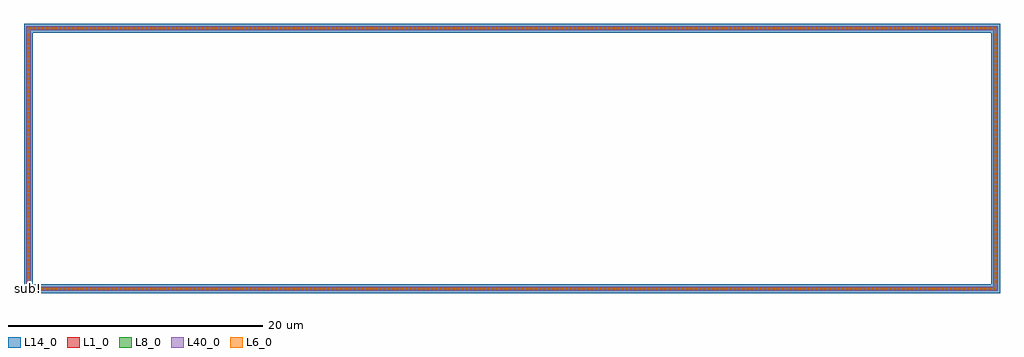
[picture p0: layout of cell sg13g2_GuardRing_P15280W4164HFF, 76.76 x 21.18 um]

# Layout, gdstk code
import gdstk
lib = gdstk.Library(unit=1e-6, precision=1e-09)
def R(c, l, rs):  # rectangles x0, y0, x1, y1
    for r in rs: c.add(gdstk.rectangle(r[:2], r[2:], *l))
def A(c, l, x, y, w, h, nx, ny, dx, dy):  # array of equal rectangles
    R(c, l, [(x+i*dx, y+j*dy, x+i*dx+w, y+j*dy+h) for i in range(nx) for j in range(ny)])
def P(c, l, *ps):  # polygons
    for p in ps: c.add(gdstk.Polygon(p, *l))
L1_0 = (1, 0)
L6_0 = (6, 0)
L8_0 = (8, 0)
L14_0 = (14, 0)
L40_0 = (40, 0)

sg13g2_guardring_p15280w = lib.new_cell('sg13g2_GuardRing_P15280W4164HFF')
P(sg13g2_guardring_p15280w, L1_0, [(-38.2,-10.41),(-38.2,10.07),(-37.86,10.07),(-37.86,-10.07),(37.86,-10.07),(37.86,10.07),(-38.2,10.07),(-38.2,10.41),(38.2,10.41),(38.2,-10.41)])
A(sg13g2_guardring_p15280w, L6_0, -37.99, -10.32, 0.16, 0.16, 224, 2, 0.34, 20.48)
A(sg13g2_guardring_p15280w, L6_0, -38.11, -9.77, 0.16, 0.16, 1, 58, 0, 0.34)
A(sg13g2_guardring_p15280w, L6_0, 37.95, -9.77, 0.16, 0.16, 1, 58, 0, 0.34)
P(sg13g2_guardring_p15280w, L8_0, [(-38.2,-10.41),(-38.2,10.07),(-37.86,10.07),(-37.86,-10.07),(37.86,-10.07),(37.86,10.07),(-38.2,10.07),(-38.2,10.41),(38.2,10.41),(38.2,-10.41)])
P(sg13g2_guardring_p15280w, L14_0, [(-38.38,-10.59),(-38.38,9.89),(-37.68,9.89),(-37.68,-9.89),(37.68,-9.89),(37.68,9.89),(-38.38,9.89),(-38.38,10.59),(38.38,10.59),(38.38,-10.59)])
P(sg13g2_guardring_p15280w, L40_0, [(-38.2,-10.41),(-38.2,10.07),(-37.86,10.07),(-37.86,-10.07),(37.86,-10.07),(37.86,10.07),(-38.2,10.07),(-38.2,10.41),(38.2,10.41),(38.2,-10.41)])
sg13g2_guardring_p15280w.add(gdstk.Label('sub!', (-38.03,-10.24), layer=63, texttype=0))

lib.write_gds('sg13g2_GuardRing_P15280W4164HFF.gds')
